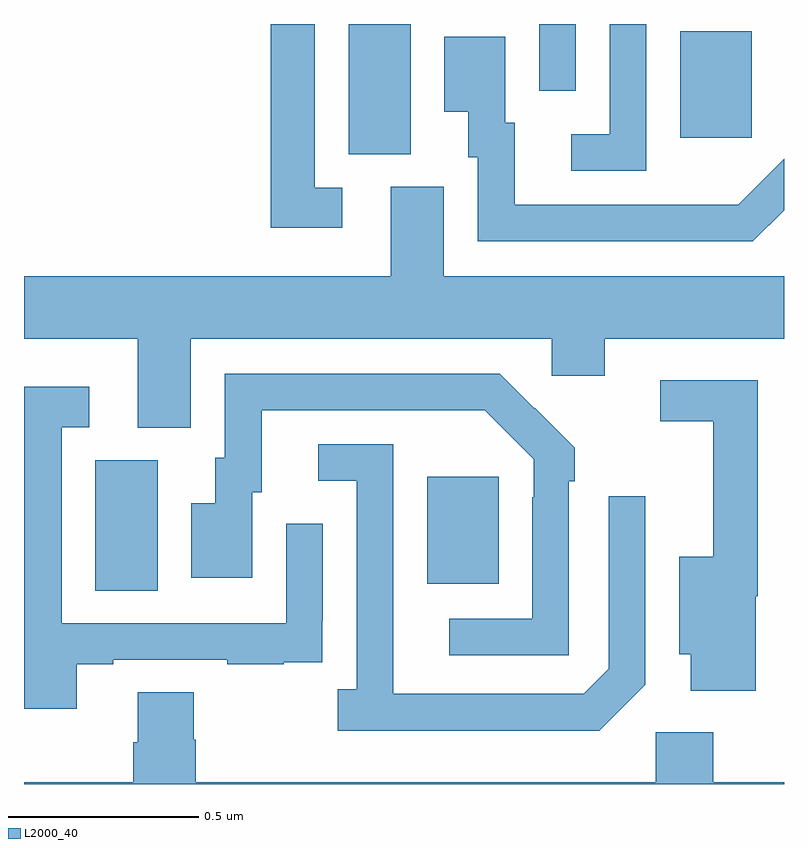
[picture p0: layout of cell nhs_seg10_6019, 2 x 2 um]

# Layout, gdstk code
import gdstk
lib = gdstk.Library(unit=1e-6, precision=1e-09)
def R(c, l, rs):  # rectangles x0, y0, x1, y1
    for r in rs: c.add(gdstk.rectangle(r[:2], r[2:], *l))
def P(c, l, *ps):  # polygons
    for p in ps: c.add(gdstk.Polygon(p, *l))
L2000_40 = (2000, 40)

nhs_seg10_6019 = lib.new_cell('nhs_seg10_6019')
R(nhs_seg10_6019, L2000_40, [(186.188,1277.008,186.352,1277.352), (187.061,1277.027,187.249,1277.308), (186.854,1278.157,187.018,1278.5), (187.727,1278.201,187.915,1278.481), (187.356,1278.324,187.452,1278.5)])
P(nhs_seg10_6019, L2000_40, [(187.638,1278.5),(187.542,1278.5),(187.542,1278.21),(187.44,1278.21),(187.44,1278.114),(187.638,1278.114)],
  [(186.838,1278.069),(186.765,1278.069),(186.765,1278.5),(186.649,1278.5),(186.649,1277.964),(186.838,1277.964)],
  [(188,1278.01),(188,1278.146),(187.879,1278.025),(187.775,1278.025),(187.775,1278.024),(187.291,1278.024),(187.291,1278.24),(187.267,1278.24),(187.267,1278.466),(187.106,1278.466),(187.106,1278.269),(187.169,1278.269),(187.169,1278.15),(187.194,1278.15),(187.194,1277.928),(187.918,1277.928)],
  [(186.439,1277.672),(187.389,1277.672),(187.389,1277.574),(187.528,1277.574),(187.528,1277.672),(188,1277.672),(188,1277.836),(187.105,1277.836),(187.105,1278.072),(186.965,1278.072),(186.965,1277.836),(186,1277.836),(186,1277.672),(186.299,1277.672),(186.299,1277.437),(186.439,1277.437)],
  [(187.434,1277.297),(187.449,1277.297),(187.449,1277.385),(187.344,1277.49),(187.343,1277.489),(187.252,1277.58),(186.528,1277.58),(186.528,1277.358),(186.503,1277.358),(186.503,1277.239),(186.44,1277.239),(186.44,1277.043),(186.601,1277.043),(186.601,1277.268),(186.625,1277.268),(186.625,1277.484),(187.213,1277.484),(187.341,1277.355),(187.341,1277.255),(187.338,1277.255),(187.338,1276.935),(187.119,1276.935),(187.119,1276.839),(187.434,1276.839)],
  [(187.925,1276.994),(187.931,1276.994),(187.931,1277.562),(187.674,1277.562),(187.674,1277.454),(187.814,1277.454),(187.814,1277.098),(187.724,1277.098),(187.724,1276.841),(187.754,1276.841),(187.754,1276.746),(187.925,1276.746)],
  [(186.139,1276.815),(186.235,1276.815),(186.235,1276.827),(186.535,1276.827),(186.535,1276.815),(186.683,1276.815),(186.683,1276.821),(186.785,1276.821),(186.785,1276.93),(186.786,1276.93),(186.786,1277.185),(186.69,1277.185),(186.69,1276.923),(186.099,1276.923),(186.099,1277.439),(186.172,1277.439),(186.172,1277.545),(186,1277.545),(186,1276.698),(186.139,1276.698)],
  [(187.635,1276.761),(187.635,1277.257),(187.539,1277.257),(187.539,1276.803),(187.473,1276.737),(186.972,1276.737),(186.972,1277.394),(186.774,1277.394),(186.774,1277.298),(186.876,1277.298),(186.876,1276.75),(186.825,1276.75),(186.825,1276.64),(187.514,1276.64)],
  [(188,1276.504),(187.814,1276.504),(187.814,1276.636),(187.662,1276.636),(187.662,1276.504),(186.452,1276.504),(186.452,1276.617),(186.447,1276.617),(186.447,1276.742),(186.299,1276.742),(186.299,1276.61),(186.287,1276.61),(186.287,1276.504),(186,1276.504),(186,1276.5),(188,1276.5)])

lib.write_gds('nhs_seg10_6019.gds')
